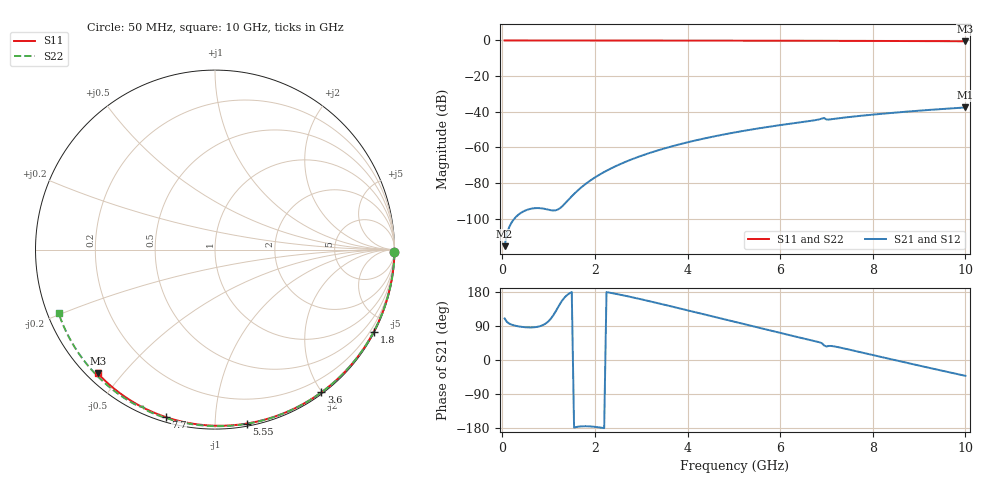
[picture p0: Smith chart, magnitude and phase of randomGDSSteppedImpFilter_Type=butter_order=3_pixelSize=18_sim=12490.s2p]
! freq	dB(S11)	phase(S11)	dB(S12)	phase(S12)
!  dB(S21)	phase(S21)	dB(S22)	phase(S22)
!S-par simulation data
#  GHz  S  DB  R 50
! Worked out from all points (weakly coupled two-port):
!   200 points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, 50 MHz to 10 GHz, reference 50 ohm
!   highest |S21| = -37.58 dB at 10 GHz (marker M1); lowest = -115.4 dB at 50 MHz (marker M2)
!   lowest |S11| = -0.4 dB at 10 GHz (marker M3), VSWR 38.82, Z = 1.53 - j21.5 ohm
!   |S11| at or under -10 dB: nowhere
!   |S22| runs from -0.5 to 0.0 dB; largest |S21 - S12| = 0
!   S11 on the Smith chart (normalised r, x): 50 MHz: open; 1.8 GHz: 0.04, -4.12; 3.6 GHz: 0.02, -1.99; 5.55 GHz: 0.02, -1.20; 7.7 GHz: 0.02, -0.75; 10 GHz: 0.03, -0.43
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0.05  -0.00 -0.8  -115.36 109.7  -115.36 109.7  -0.00 -0.9
0.85  -0.02 -13.0  -94.15 90.7  -94.15 90.7  -0.02 -15.5
1.75  -0.03 -26.5  -81.46 -174.8  -81.46 -174.8  -0.04 -31.5
1.8  -0.03 -27.3  -80.44 -174.7  -80.44 -174.7  -0.04 -32.4
1.85  -0.04 -28.0  -79.48 -174.9  -79.48 -174.9  -0.04 -33.3
2.2  -0.04 -33.2  -73.76 -179.8  -73.76 -179.8  -0.05 -39.4
2.5  -0.05 -37.6  -69.88 173.4  -69.88 173.4  -0.06 -44.5
2.9  -0.06 -43.4  -65.63 162.9  -65.63 162.9  -0.07 -51.4
3.4  -0.07 -50.5  -61.32 148.8  -61.32 148.8  -0.08 -59.7
3.6  -0.07 -53.3  -59.82 142.9  -59.82 142.9  -0.08 -63.0
4.3  -0.09 -63.0  -55.31 122.2  -55.31 122.2  -0.11 -74.4
5.05  -0.11 -73.1  -51.43 99.8  -51.43 99.8  -0.13 -86.1
5.55  -0.13 -79.6  -49.24 84.9  -49.24 84.9  -0.15 -93.7
6.1  -0.15 -86.7  -47.10 68.6  -47.10 68.6  -0.18 -102.0
6.7  -0.18 -94.2  -44.93 51.2  -44.93 51.2  -0.22 -110.9
6.95  -0.19 -97.3  -43.53 38.4  -43.53 38.4  -0.35 -114.7
7  -0.20 -97.9  -44.31 35.7  -44.31 35.7  -0.32 -114.7
7.05  -0.20 -98.5  -44.36 37.1  -44.36 37.1  -0.28 -115.5
7.7  -0.24 -106.4  -42.35 21.6  -42.35 21.6  -0.29 -125.0
8.35  -0.29 -114.1  -40.76 3.3  -40.76 3.3  -0.35 -134.3
9.2  -0.36 -124.1  -38.99 -20.2  -38.99 -20.2  -0.43 -146.4
10  -0.45 -133.4  -37.58 -41.8  -37.58 -41.8  -0.53 -157.9
